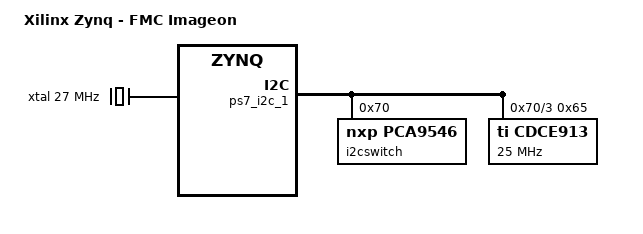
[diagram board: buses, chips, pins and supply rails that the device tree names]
#include "zynq-zc706.dts"

/ {
	model = "Xilinx Zynq - FMC Imageon";

	aliases {
		i2c1 = &ps7_i2c_1;
	};

	xtal: xtal@fmc {
		compatible = "fixed-clock";
		#clock-cells = <0>;
		clock-frequency = <27000000>;
	};

	ps7_axi_interconnect_0: amba@0 {
		ps7_i2c_1: ps7-i2c@e0005000 {
			compatible = "xlnx,ps7-i2c-1.00.a";
			clocks = <&clkc 39>;
			reg = <0xE0005000 0x1000>;
			interrupts = <0 48 4>;
			interrupt-parent = <&ps7_scugic_0>;
			bus-id = <1>;
			i2c-clk = <100000>;

			#address-cells = <1>;
			#size-cells = <0>;
			i2cswitch@70 {
			        compatible = "nxp,pca9546";
			        #address-cells = <1>;
			        #size-cells = <0>;
			        reg = <0x70>;

			        i2c@3 {
			                #address-cells = <1>;
			                #size-cells = <0>;
			                reg = <3>;

			                cdce913@65 {
						#clock-cells = <1>;
						clocks = <&xtal>;
						clock-frequency = <25000000>, <50000000>, <100000000>;
			                        compatible = "ti,cdce913";
			                        reg = <0x65>;
						ti,s0 = <1>;
						ti,input-clock-type = "xtal";
			                };
			        };
			};
		};
	};
};
